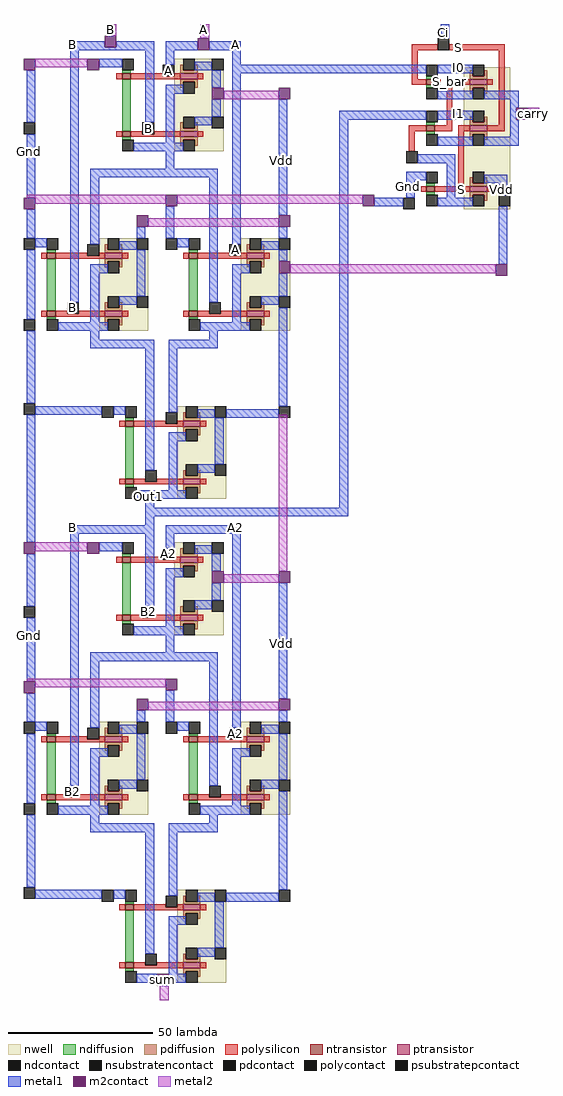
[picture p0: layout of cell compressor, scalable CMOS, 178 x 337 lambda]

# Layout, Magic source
magic
tech scmos
<< nwell >>
rect -79 154 -62 186
rect 21 134 37 183
rect -105 92 -88 124
rect -56 92 -39 124
rect -78 34 -61 66
rect -79 -13 -62 19
rect -105 -75 -88 -43
rect -56 -75 -39 -43
rect -78 -133 -61 -101
<< polysilicon >>
rect 3 189 12 191
rect 16 189 35 191
rect -99 179 -97 181
rect -94 180 -83 181
rect -79 180 -77 181
rect -94 179 -77 180
rect -71 179 -69 181
rect 3 179 5 189
rect 3 177 8 179
rect 11 177 13 179
rect 15 177 23 179
rect 29 177 31 179
rect -99 159 -97 161
rect -94 160 -90 161
rect 15 163 17 177
rect 33 163 35 189
rect 2 161 8 163
rect 11 161 17 163
rect 19 161 23 163
rect 29 161 35 163
rect -86 160 -77 161
rect -94 159 -77 160
rect -71 159 -69 161
rect 2 154 4 161
rect 19 142 21 161
rect 6 140 8 142
rect 11 140 23 142
rect 29 140 31 142
rect -125 117 -123 119
rect -120 118 -109 119
rect -105 118 -103 119
rect -120 117 -103 118
rect -97 117 -95 119
rect -76 117 -74 119
rect -71 118 -60 119
rect -56 118 -54 119
rect -71 117 -54 118
rect -48 117 -46 119
rect -125 97 -123 99
rect -120 98 -116 99
rect -112 98 -103 99
rect -120 97 -103 98
rect -97 97 -95 99
rect -76 97 -74 99
rect -71 98 -67 99
rect -63 98 -54 99
rect -71 97 -54 98
rect -48 97 -46 99
rect -98 59 -96 61
rect -93 60 -82 61
rect -78 60 -76 61
rect -93 59 -76 60
rect -70 59 -68 61
rect -98 39 -96 41
rect -93 40 -89 41
rect -85 40 -76 41
rect -93 39 -76 40
rect -70 39 -68 41
rect -99 12 -97 14
rect -94 13 -83 14
rect -79 13 -77 14
rect -94 12 -77 13
rect -71 12 -69 14
rect -99 -8 -97 -6
rect -94 -7 -90 -6
rect -86 -7 -77 -6
rect -94 -8 -77 -7
rect -71 -8 -69 -6
rect -125 -50 -123 -48
rect -120 -49 -109 -48
rect -105 -49 -103 -48
rect -120 -50 -103 -49
rect -97 -50 -95 -48
rect -76 -50 -74 -48
rect -71 -49 -60 -48
rect -56 -49 -54 -48
rect -71 -50 -54 -49
rect -48 -50 -46 -48
rect -125 -70 -123 -68
rect -120 -69 -116 -68
rect -112 -69 -103 -68
rect -120 -70 -103 -69
rect -97 -70 -95 -68
rect -76 -70 -74 -68
rect -71 -69 -67 -68
rect -63 -69 -54 -68
rect -71 -70 -54 -69
rect -48 -70 -46 -68
rect -98 -108 -96 -106
rect -93 -107 -82 -106
rect -78 -107 -76 -106
rect -93 -108 -76 -107
rect -70 -108 -68 -106
rect -98 -128 -96 -126
rect -93 -127 -89 -126
rect -85 -127 -76 -126
rect -93 -128 -76 -127
rect -70 -128 -68 -126
<< ndiffusion >>
rect -97 181 -94 182
rect 8 179 11 180
rect -97 161 -94 179
rect 8 176 11 177
rect 8 163 11 164
rect -97 158 -94 159
rect 8 160 11 161
rect 8 142 11 143
rect 8 139 11 140
rect -123 119 -120 120
rect -74 119 -71 120
rect -123 99 -120 117
rect -74 99 -71 117
rect -123 96 -120 97
rect -74 96 -71 97
rect -96 61 -93 62
rect -96 41 -93 59
rect -96 38 -93 39
rect -97 14 -94 15
rect -97 -6 -94 12
rect -97 -9 -94 -8
rect -123 -48 -120 -47
rect -74 -48 -71 -47
rect -123 -68 -120 -50
rect -74 -68 -71 -50
rect -123 -71 -120 -70
rect -74 -71 -71 -70
rect -96 -106 -93 -105
rect -96 -126 -93 -108
rect -96 -129 -93 -128
<< pdiffusion >>
rect -77 182 -76 184
rect -72 182 -71 184
rect -77 181 -71 182
rect 23 180 24 182
rect 28 180 29 182
rect 23 179 29 180
rect -77 178 -71 179
rect -77 176 -76 178
rect -72 176 -71 178
rect -77 162 -76 164
rect -72 162 -71 164
rect 23 176 29 177
rect 23 174 24 176
rect 28 174 29 176
rect 23 164 24 166
rect 28 164 29 166
rect 23 163 29 164
rect -77 161 -71 162
rect -77 158 -71 159
rect -77 156 -76 158
rect -72 156 -71 158
rect 23 160 29 161
rect 23 158 24 160
rect 28 158 29 160
rect 23 143 24 145
rect 28 143 29 145
rect 23 142 29 143
rect 23 139 29 140
rect 23 137 24 139
rect 28 137 29 139
rect -103 120 -102 122
rect -98 120 -97 122
rect -103 119 -97 120
rect -54 120 -53 122
rect -49 120 -48 122
rect -54 119 -48 120
rect -103 116 -97 117
rect -103 114 -102 116
rect -98 114 -97 116
rect -103 100 -102 102
rect -98 100 -97 102
rect -103 99 -97 100
rect -54 116 -48 117
rect -54 114 -53 116
rect -49 114 -48 116
rect -54 100 -53 102
rect -49 100 -48 102
rect -54 99 -48 100
rect -103 96 -97 97
rect -103 94 -102 96
rect -98 94 -97 96
rect -54 96 -48 97
rect -54 94 -53 96
rect -49 94 -48 96
rect -76 62 -75 64
rect -71 62 -70 64
rect -76 61 -70 62
rect -76 58 -70 59
rect -76 56 -75 58
rect -71 56 -70 58
rect -76 42 -75 44
rect -71 42 -70 44
rect -76 41 -70 42
rect -76 38 -70 39
rect -76 36 -75 38
rect -71 36 -70 38
rect -77 15 -76 17
rect -72 15 -71 17
rect -77 14 -71 15
rect -77 11 -71 12
rect -77 9 -76 11
rect -72 9 -71 11
rect -77 -5 -76 -3
rect -72 -5 -71 -3
rect -77 -6 -71 -5
rect -77 -9 -71 -8
rect -77 -11 -76 -9
rect -72 -11 -71 -9
rect -103 -47 -102 -45
rect -98 -47 -97 -45
rect -103 -48 -97 -47
rect -54 -47 -53 -45
rect -49 -47 -48 -45
rect -54 -48 -48 -47
rect -103 -51 -97 -50
rect -103 -53 -102 -51
rect -98 -53 -97 -51
rect -103 -67 -102 -65
rect -98 -67 -97 -65
rect -103 -68 -97 -67
rect -54 -51 -48 -50
rect -54 -53 -53 -51
rect -49 -53 -48 -51
rect -54 -67 -53 -65
rect -49 -67 -48 -65
rect -54 -68 -48 -67
rect -103 -71 -97 -70
rect -103 -73 -102 -71
rect -98 -73 -97 -71
rect -54 -71 -48 -70
rect -54 -73 -53 -71
rect -49 -73 -48 -71
rect -76 -105 -75 -103
rect -71 -105 -70 -103
rect -76 -106 -70 -105
rect -76 -109 -70 -108
rect -76 -111 -75 -109
rect -71 -111 -70 -109
rect -76 -125 -75 -123
rect -71 -125 -70 -123
rect -76 -126 -70 -125
rect -76 -129 -70 -128
rect -76 -131 -75 -129
rect -71 -131 -70 -129
<< metal1 >>
rect -115 190 -103 192
rect 13 193 16 198
rect -99 190 -86 192
rect -115 189 -86 190
rect -130 164 -127 182
rect -130 138 -127 160
rect -130 124 -127 134
rect -127 121 -123 124
rect -130 96 -127 120
rect -115 102 -112 189
rect -105 183 -97 186
rect -89 164 -86 189
rect -82 189 -71 192
rect -67 189 -56 192
rect -82 184 -79 189
rect -72 182 -66 185
rect -59 184 -56 189
rect -82 174 -76 177
rect -66 176 -63 182
rect -59 181 8 184
rect -82 157 -79 174
rect -66 166 -63 172
rect -72 163 -66 166
rect -93 154 -76 157
rect -82 148 -79 154
rect -108 145 -64 148
rect -108 122 -105 145
rect -92 124 -89 128
rect -82 124 -79 135
rect -98 120 -92 123
rect -78 121 -74 124
rect -108 112 -102 115
rect -108 95 -105 112
rect -92 104 -89 120
rect -98 101 -92 104
rect -67 102 -64 145
rect -59 122 -56 181
rect 12 181 24 184
rect 12 172 24 175
rect 28 172 40 175
rect -43 132 -40 172
rect 37 169 40 172
rect -22 165 8 168
rect -43 124 -40 128
rect -49 120 -43 123
rect -43 116 -40 120
rect -59 112 -53 115
rect -119 92 -102 95
rect -59 95 -56 112
rect -43 104 -40 112
rect -49 101 -43 104
rect -70 92 -53 95
rect -130 67 -127 92
rect -108 89 -105 92
rect -67 89 -64 92
rect -108 86 -86 89
rect -127 63 -104 66
rect -130 19 -127 63
rect -100 63 -96 66
rect -89 44 -86 86
rect -81 86 -64 89
rect -81 64 -78 86
rect -43 66 -40 100
rect -71 62 -65 65
rect -61 62 -43 65
rect -81 54 -75 57
rect -81 37 -78 54
rect -65 46 -62 62
rect -71 43 -65 46
rect -92 34 -75 37
rect -89 31 -86 34
rect -22 31 -19 165
rect 12 165 24 168
rect 37 165 39 169
rect 12 156 24 159
rect 37 159 40 165
rect 28 156 40 159
rect 5 150 18 153
rect 1 144 8 147
rect 1 138 4 144
rect -10 135 0 138
rect 15 138 18 150
rect 28 143 36 146
rect 33 139 36 143
rect 12 135 24 138
rect 33 115 36 135
rect -89 28 -19 31
rect -89 25 -86 28
rect -130 -3 -127 15
rect -130 -29 -127 -7
rect -130 -43 -127 -33
rect -115 22 -86 25
rect -127 -46 -123 -43
rect -130 -71 -127 -47
rect -115 -65 -112 22
rect -105 16 -97 19
rect -89 -3 -86 22
rect -82 22 -56 25
rect -82 17 -79 22
rect -72 15 -66 18
rect -82 7 -76 10
rect -66 9 -63 15
rect -82 -10 -79 7
rect -66 -1 -63 5
rect -72 -4 -66 -1
rect -93 -13 -76 -10
rect -82 -19 -79 -13
rect -108 -22 -64 -19
rect -108 -45 -105 -22
rect -92 -43 -89 -39
rect -82 -43 -79 -32
rect -98 -47 -92 -44
rect -78 -46 -74 -43
rect -108 -55 -102 -52
rect -108 -72 -105 -55
rect -92 -63 -89 -47
rect -98 -66 -92 -63
rect -67 -65 -64 -22
rect -59 -45 -56 22
rect -43 -35 -40 5
rect -43 -43 -40 -39
rect -49 -47 -43 -44
rect -59 -55 -53 -52
rect -119 -75 -102 -72
rect -59 -72 -56 -55
rect -43 -63 -40 -47
rect -49 -66 -43 -63
rect -70 -75 -53 -72
rect -130 -100 -127 -75
rect -108 -78 -105 -75
rect -67 -78 -64 -75
rect -108 -81 -86 -78
rect -127 -104 -104 -101
rect -100 -104 -96 -101
rect -89 -123 -86 -81
rect -81 -81 -64 -78
rect -81 -103 -78 -81
rect -43 -101 -40 -67
rect -71 -105 -65 -102
rect -61 -105 -43 -102
rect -81 -113 -75 -110
rect -81 -130 -78 -113
rect -65 -121 -62 -105
rect -71 -124 -65 -121
rect -92 -133 -85 -130
rect -81 -133 -75 -130
<< metal2 >>
rect -102 194 -99 198
rect -70 193 -67 198
rect -127 183 -109 186
rect -62 172 -43 175
rect 43 166 47 169
rect -130 138 -82 139
rect -127 136 -82 138
rect -78 136 -14 139
rect -88 128 -43 131
rect -39 112 32 115
rect -127 16 -109 19
rect -43 9 -40 63
rect -62 5 -43 8
rect -130 -29 -82 -28
rect -127 -31 -82 -29
rect -88 -39 -43 -36
rect -84 -139 -81 -134
<< ntransistor >>
rect -97 179 -94 181
rect 8 177 11 179
rect -97 159 -94 161
rect 8 161 11 163
rect 8 140 11 142
rect -123 117 -120 119
rect -74 117 -71 119
rect -123 97 -120 99
rect -74 97 -71 99
rect -96 59 -93 61
rect -96 39 -93 41
rect -97 12 -94 14
rect -97 -8 -94 -6
rect -123 -50 -120 -48
rect -74 -50 -71 -48
rect -123 -70 -120 -68
rect -74 -70 -71 -68
rect -96 -108 -93 -106
rect -96 -128 -93 -126
<< ptransistor >>
rect -77 179 -71 181
rect 23 177 29 179
rect 23 161 29 163
rect -77 159 -71 161
rect 23 140 29 142
rect -103 117 -97 119
rect -54 117 -48 119
rect -103 97 -97 99
rect -54 97 -48 99
rect -76 59 -70 61
rect -76 39 -70 41
rect -77 12 -71 14
rect -77 -8 -71 -6
rect -103 -50 -97 -48
rect -54 -50 -48 -48
rect -103 -70 -97 -68
rect -54 -70 -48 -68
rect -76 -108 -70 -106
rect -76 -128 -70 -126
<< polycontact >>
rect 12 189 16 193
rect -83 180 -79 184
rect -90 160 -86 164
rect 1 150 5 154
rect -109 118 -105 122
rect -60 118 -56 122
rect -116 98 -112 102
rect -67 98 -63 102
rect -82 60 -78 64
rect -89 40 -85 44
rect -83 13 -79 17
rect -90 -7 -86 -3
rect -109 -49 -105 -45
rect -60 -49 -56 -45
rect -116 -69 -112 -65
rect -67 -69 -63 -65
rect -82 -107 -78 -103
rect -89 -127 -85 -123
<< ndcontact >>
rect -97 182 -93 186
rect 8 180 12 184
rect 8 172 12 176
rect 8 164 12 168
rect -97 154 -93 158
rect 8 156 12 160
rect 8 143 12 147
rect 8 135 12 139
rect -123 120 -119 124
rect -74 120 -70 124
rect -123 92 -119 96
rect -74 92 -70 96
rect -96 62 -92 66
rect -96 34 -92 38
rect -97 15 -93 19
rect -97 -13 -93 -9
rect -123 -47 -119 -43
rect -74 -47 -70 -43
rect -123 -75 -119 -71
rect -74 -75 -70 -71
rect -96 -105 -92 -101
rect -96 -133 -92 -129
<< pdcontact >>
rect -76 182 -72 186
rect 24 180 28 184
rect -76 174 -72 178
rect -76 162 -72 166
rect 24 172 28 176
rect 24 164 28 168
rect -76 154 -72 158
rect 24 156 28 160
rect 24 143 28 147
rect 24 135 28 139
rect -102 120 -98 124
rect -53 120 -49 124
rect -102 112 -98 116
rect -102 100 -98 104
rect -53 112 -49 116
rect -53 100 -49 104
rect -102 92 -98 96
rect -53 92 -49 96
rect -75 62 -71 66
rect -75 54 -71 58
rect -75 42 -71 46
rect -75 34 -71 38
rect -76 15 -72 19
rect -76 7 -72 11
rect -76 -5 -72 -1
rect -76 -13 -72 -9
rect -102 -47 -98 -43
rect -53 -47 -49 -43
rect -102 -55 -98 -51
rect -102 -67 -98 -63
rect -53 -55 -49 -51
rect -53 -67 -49 -63
rect -102 -75 -98 -71
rect -53 -75 -49 -71
rect -75 -105 -71 -101
rect -75 -113 -71 -109
rect -75 -125 -71 -121
rect -75 -133 -71 -129
<< m2contact >>
rect -103 190 -99 194
rect -131 182 -127 186
rect -131 134 -127 138
rect -109 182 -105 186
rect -71 189 -67 193
rect -66 172 -62 176
rect -82 135 -78 139
rect -92 128 -88 132
rect -43 172 -39 176
rect -43 128 -39 132
rect -43 112 -39 116
rect 39 165 43 169
rect -14 135 -10 139
rect 32 111 36 115
rect -131 15 -127 19
rect -131 -33 -127 -29
rect -109 15 -105 19
rect -66 5 -62 9
rect -82 -32 -78 -28
rect -92 -39 -88 -35
rect -43 5 -39 9
rect -43 -39 -39 -35
rect -85 -134 -81 -130
<< psubstratepcontact >>
rect -131 160 -127 164
rect 0 134 4 138
rect -131 120 -127 124
rect -82 120 -78 124
rect -131 92 -127 96
rect -131 63 -127 67
rect -104 62 -100 66
rect -131 -7 -127 -3
rect -131 -47 -127 -43
rect -82 -47 -78 -43
rect -131 -75 -127 -71
rect -131 -104 -127 -100
rect -104 -105 -100 -101
<< nsubstratencontact >>
rect -66 182 -62 186
rect -66 162 -62 166
rect 33 135 37 139
rect -92 120 -88 124
rect -43 120 -39 124
rect -92 100 -88 104
rect -43 100 -39 104
rect -65 62 -61 66
rect -43 62 -39 66
rect -65 42 -61 46
rect -66 15 -62 19
rect -66 -5 -62 -1
rect -92 -47 -88 -43
rect -43 -47 -39 -43
rect -92 -67 -88 -63
rect -43 -67 -39 -63
rect -65 -105 -61 -101
rect -43 -105 -39 -101
rect -65 -125 -61 -121
<< labels >>
rlabel metal1 -114 24 -114 24 3 B
rlabel metal1 -129 -13 -129 -13 3 Gnd
rlabel metal1 -42 -16 -42 -16 3 Vdd
rlabel metal1 -58 191 -58 191 3 A
rlabel polycontact -58 120 -58 120 3 A
rlabel polycontact -81 182 -81 182 3 A
rlabel polycontact -114 100 -114 100 3 B
rlabel polycontact -88 162 -88 162 3 B
rlabel metal1 -114 191 -114 191 3 B
rlabel metal1 -129 154 -129 154 3 Gnd
rlabel metal1 -42 151 -42 151 3 Vdd
rlabel polycontact -81 15 -81 15 1 A2
rlabel polycontact -88 -5 -88 -5 1 B2
rlabel metal1 -58 24 -58 24 5 A2
rlabel polycontact -58 -47 -58 -47 1 A2
rlabel polycontact -114 -67 -114 -67 1 B2
rlabel metal1 -88 35 -88 35 1 Out1
rlabel m2contact -83 -132 -83 -132 1 sum
rlabel polysilicon 16 178 16 178 3 S_bar
rlabel polysilicon 19 190 19 190 3 S
rlabel metal1 19 183 19 183 5 I0
rlabel metal1 19 167 19 167 5 I1
rlabel polysilicon 20 141 20 141 3 S
rlabel metal1 16 137 16 137 3 S_bar
rlabel metal1 34 141 34 141 3 Vdd
rlabel metal2 45 167 45 167 1 carry
rlabel metal1 14 195 14 195 1 Ci
rlabel metal2 -69 196 -69 196 1 A
rlabel metal2 -101 196 -101 196 1 B
rlabel metal1 2 142 2 142 1 Gnd
<< end >>
